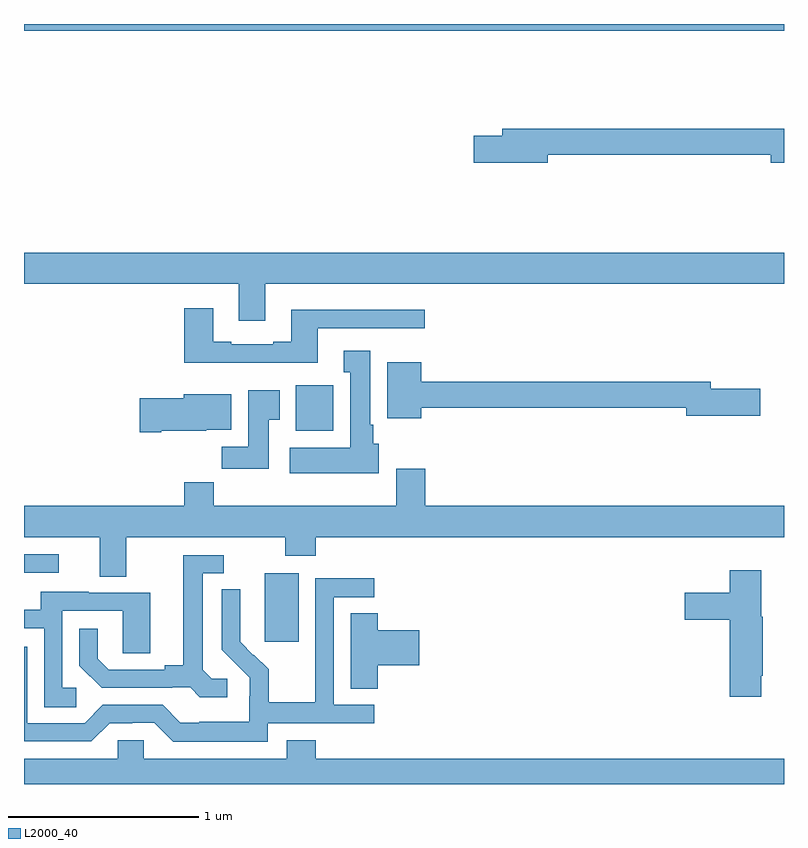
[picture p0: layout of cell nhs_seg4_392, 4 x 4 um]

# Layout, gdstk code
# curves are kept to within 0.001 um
import gdstk
lib = gdstk.Library(unit=1e-6, precision=1e-09)
def R(c, l, rs):  # rectangles x0, y0, x1, y1
    for r in rs: c.add(gdstk.rectangle(r[:2], r[2:], *l))
def P(c, l, *ps):  # polygons
    for p in ps: c.add(gdstk.Polygon(p, *l))
L2000_40 = (2000, 40)

nhs_seg4_392 = lib.new_cell('nhs_seg4_392')
R(nhs_seg4_392, L2000_40, [(132.266,749.649,132.445,750.01), (131,750.012,131.182,750.108), (132.431,750.758,132.628,751), (131,752.864,135,752.9)])
P(nhs_seg4_392, L2000_40, [(133.756,752.212),(134.93,752.212),(134.93,752.17),(135,752.17),(135,752.348),(133.517,752.348),(133.517,752.312),(133.368,752.312),(133.368,752.17),(133.756,752.17)],
  [(132.271,751.532),(135,751.532),(135,751.696),(131,751.696),(131,751.532),(132.131,751.532),(132.131,751.338),(132.271,751.338)],
  [(132.547,751.299),(133.108,751.299),(133.108,751.396),(132.407,751.396),(132.407,751.228),(132.311,751.228),(132.311,751.215),(132.091,751.215),(132.091,751.228),(131.995,751.228),(131.995,751.405),(131.843,751.405),(131.843,751.118),(132.547,751.118)],
  [(132.868,750.69),(132.838,750.69),(132.838,750.79),(132.823,750.79),(132.823,751.18),(132.683,751.18),(132.683,751.067),(132.716,751.067),(132.716,750.67),(132.399,750.67),(132.399,750.536),(132.868,750.536)],
  [(133.09,750.88),(134.486,750.88),(134.486,750.838),(134.875,750.838),(134.875,750.98),(134.614,750.98),(134.614,751.016),(133.09,751.016),(133.09,751.12),(132.911,751.12),(132.911,750.824),(133.09,750.824)],
  [(132.289,750.817),(132.346,750.817),(132.346,750.973),(132.179,750.973),(132.179,750.676),(132.04,750.676),(132.04,750.558),(132.289,750.558)],
  [(131.722,750.758),(131.958,750.758),(131.958,750.764),(132.091,750.764),(132.091,750.952),(131.84,750.952),(131.84,750.929),(131.61,750.929),(131.61,750.751),(131.722,750.751)],
  [(131.539,750.2),(132.376,750.2),(132.376,750.101),(132.536,750.101),(132.536,750.2),(135,750.2),(135,750.364),(133.112,750.364),(133.112,750.559),(132.959,750.559),(132.959,750.364),(131.999,750.364),(131.999,750.488),(131.843,750.488),(131.843,750.364),(131,750.364),(131,750.2),(131.399,750.2),(131.399,749.992),(131.539,749.992)],
  [(132.07,749.454),(131.988,749.454),(131.941,749.501),(131.941,750.009),(132.052,750.009),(132.052,750.105),(131.837,750.105),(131.837,749.525),(131.741,749.525),(131.741,749.502),(131.446,749.502),(131.389,749.559),(131.389,749.716),(131.292,749.716),(131.292,749.522),(131.408,749.406),(131.78,749.406),(131.78,749.409),(131.874,749.409),(131.926,749.357),(132.07,749.357)],
  [(134.881,749.47),(134.889,749.47),(134.889,749.781),(134.881,749.781),(134.881,750.025),(134.714,750.025),(134.714,749.907),(134.478,749.907),(134.478,749.765),(134.714,749.765),(134.714,749.358),(134.881,749.358)],
  [(132.282,749.22),(132.844,749.22),(132.844,749.316),(132.63,749.316),(132.63,749.883),(132.844,749.883),(132.844,749.982),(132.534,749.982),(132.534,749.552),(132.532,749.552),(132.532,749.329),(132.287,749.329),(132.287,749.503),(132.21,749.58),(132.207,749.577),(132.137,749.648),(132.138,749.924),(132.042,749.924),(132.042,749.606),(132.188,749.458),(132.188,749.361),(132.186,749.361),(132.186,749.227),(131.923,749.227),(131.923,749.223),(131.823,749.223),(131.73,749.316),(131.415,749.316),(131.319,749.22),(131.016,749.22),(131.016,749.622),(131,749.622),(131,749.124),(131.355,749.124),(131.451,749.22),(131.57,749.22),(131.57,749.223),(131.685,749.223),(131.785,749.123),(132.282,749.123)],
  [(131.275,749.406),(131.202,749.406),(131.202,749.811),(131.52,749.811),(131.52,749.587),(131.665,749.587),(131.665,749.907),(131.341,749.907),(131.341,749.911),(131.087,749.911),(131.087,749.817),(131,749.817),(131,749.721),(131.106,749.721),(131.106,749.305),(131.275,749.305)],
  [(132.863,749.525),(133.081,749.525),(133.081,749.708),(132.863,749.708),(132.863,749.798),(132.719,749.798),(132.719,749.401),(132.863,749.401)],
  [(135,749.032),(132.536,749.032),(132.536,749.131),(132.383,749.131),(132.383,749.032),(131.631,749.032),(131.631,749.13),(131.493,749.13),(131.493,749.032),(131,749.032),(131,748.9),(135,748.9)])

lib.write_gds('nhs_seg4_392.gds')
